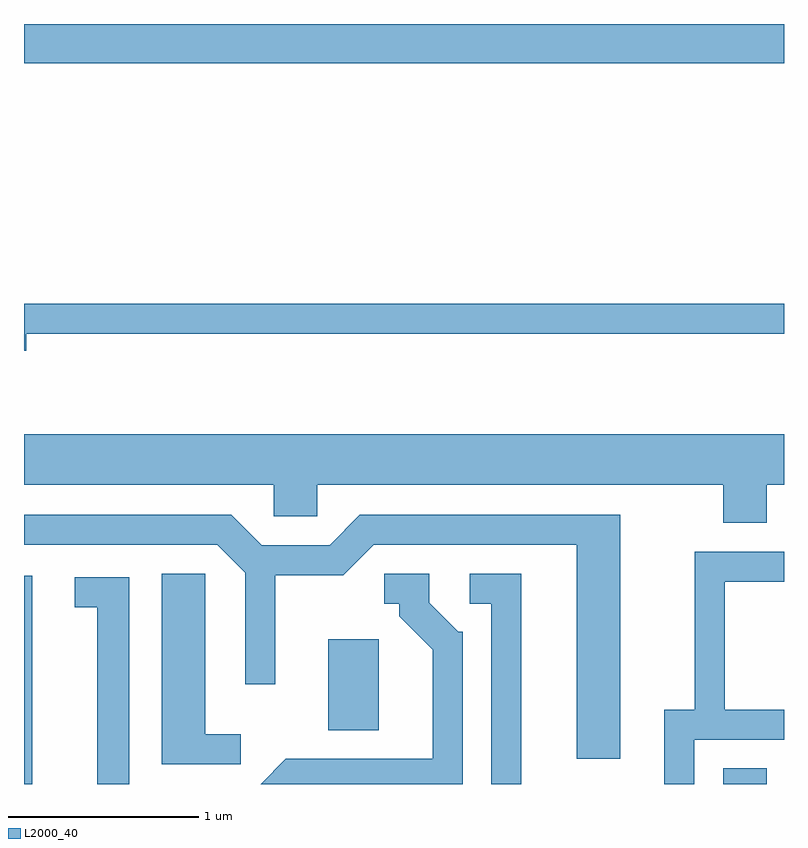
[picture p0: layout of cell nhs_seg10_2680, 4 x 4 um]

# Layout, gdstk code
import gdstk
lib = gdstk.Library(unit=1e-6, precision=1e-09)
def R(c, l, rs):  # rectangles x0, y0, x1, y1
    for r in rs: c.add(gdstk.rectangle(r[:2], r[2:], *l))
def P(c, l, *ps):  # polygons
    for p in ps: c.add(gdstk.Polygon(p, *l))
L2000_40 = (2000, 40)

nhs_seg10_2680 = lib.new_cell('nhs_seg10_2680')
R(nhs_seg10_2680, L2000_40, [(263.611,2154.522,263.654,2155.619), (267.291,2154.522,267.519,2154.604), (265.211,2154.806,265.479,2155.284), (263.611,2158.316,267.611,2158.522)])
P(nhs_seg10_2680, L2000_40, [(263.624,2156.891),(267.611,2156.891),(267.611,2157.049),(263.611,2157.049),(263.611,2156.801),(263.624,2156.801)],
  [(267.519,2156.096),(267.611,2156.096),(267.611,2156.364),(263.611,2156.364),(263.611,2156.096),(264.926,2156.096),(264.926,2155.931),(265.154,2155.931),(265.154,2156.096),(267.291,2156.096),(267.291,2155.896),(267.519,2155.896)],
  [(266.749,2155.939),(265.379,2155.939),(265.219,2155.779),(264.862,2155.779),(264.702,2155.939),(263.611,2155.939),(263.611,2155.781),(264.629,2155.781),(264.776,2155.634),(264.776,2155.048),(264.934,2155.048),(264.934,2155.621),(265.292,2155.621),(265.452,2155.781),(266.521,2155.781),(266.521,2154.656),(266.749,2154.656)],
  [(267.139,2154.756),(267.611,2154.756),(267.611,2154.914),(267.299,2154.914),(267.299,2155.586),(267.611,2155.586),(267.611,2155.744),(267.141,2155.744),(267.141,2154.914),(266.981,2154.914),(266.981,2154.522),(267.139,2154.522)],
  [(266.229,2155.629),(265.958,2155.629),(265.958,2155.471),(266.071,2155.471),(266.071,2154.522),(266.229,2154.522)],
  [(265.919,2155.324),(265.897,2155.324),(265.744,2155.477),(265.744,2155.629),(265.508,2155.629),(265.508,2155.471),(265.586,2155.471),(265.586,2155.404),(265.761,2155.229),(265.761,2154.654),(264.989,2154.654),(264.857,2154.522),(265.919,2154.522)],
  [(264.753,2154.784),(264.564,2154.784),(264.564,2155.629),(264.336,2155.629),(264.336,2154.626),(264.753,2154.626)],
  [(264.164,2155.609),(263.878,2155.609),(263.878,2155.451),(263.996,2155.451),(263.996,2154.522),(264.164,2154.522)])

lib.write_gds('nhs_seg10_2680.gds')
